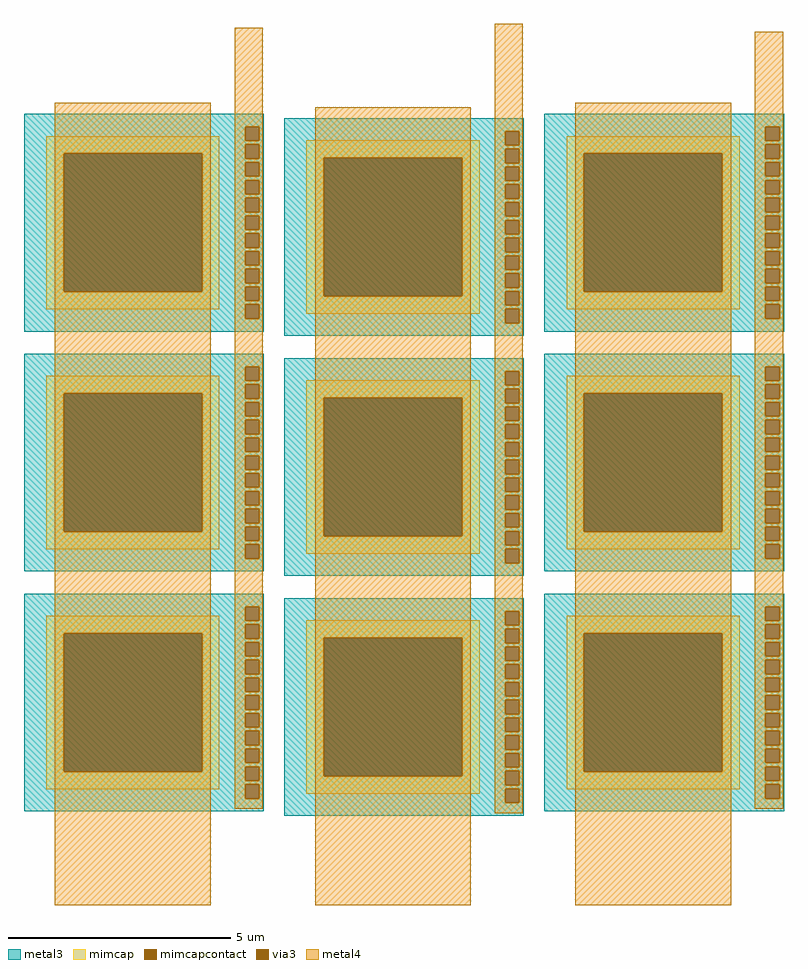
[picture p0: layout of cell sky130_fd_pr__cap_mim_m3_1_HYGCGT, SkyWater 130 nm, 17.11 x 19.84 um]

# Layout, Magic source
magic
tech sky130A
magscale 1 2
<< metal3 >>
rect -1711 1532 -632 1590
rect -1711 1468 -716 1532
rect -652 1468 -632 1532
rect -1711 1452 -632 1468
rect -1711 1388 -716 1452
rect -652 1388 -632 1452
rect -1711 1372 -632 1388
rect -1711 1308 -716 1372
rect -652 1308 -632 1372
rect -1711 1292 -632 1308
rect -1711 1228 -716 1292
rect -652 1228 -632 1292
rect -1711 1212 -632 1228
rect -1711 1148 -716 1212
rect -652 1148 -632 1212
rect -1711 1132 -632 1148
rect -1711 1068 -716 1132
rect -652 1068 -632 1132
rect -1711 1052 -632 1068
rect -1711 988 -716 1052
rect -652 988 -632 1052
rect -1711 972 -632 988
rect -1711 908 -716 972
rect -652 908 -632 972
rect -1711 892 -632 908
rect -1711 828 -716 892
rect -652 828 -632 892
rect -1711 812 -632 828
rect -1711 748 -716 812
rect -652 748 -632 812
rect -1711 732 -632 748
rect -1711 668 -716 732
rect -652 668 -632 732
rect -1711 610 -632 668
rect -540 1512 539 1570
rect -540 1448 455 1512
rect 519 1448 539 1512
rect -540 1432 539 1448
rect -540 1368 455 1432
rect 519 1368 539 1432
rect -540 1352 539 1368
rect -540 1288 455 1352
rect 519 1288 539 1352
rect -540 1272 539 1288
rect -540 1208 455 1272
rect 519 1208 539 1272
rect -540 1192 539 1208
rect -540 1128 455 1192
rect 519 1128 539 1192
rect -540 1112 539 1128
rect -540 1048 455 1112
rect 519 1048 539 1112
rect -540 1032 539 1048
rect -540 968 455 1032
rect 519 968 539 1032
rect -540 952 539 968
rect -540 888 455 952
rect 519 888 539 952
rect -540 872 539 888
rect -540 808 455 872
rect 519 808 539 872
rect -540 792 539 808
rect -540 728 455 792
rect 519 728 539 792
rect -540 712 539 728
rect -540 648 455 712
rect 519 648 539 712
rect -540 590 539 648
rect 631 1532 1710 1590
rect 631 1468 1626 1532
rect 1690 1468 1710 1532
rect 631 1452 1710 1468
rect 631 1388 1626 1452
rect 1690 1388 1710 1452
rect 631 1372 1710 1388
rect 631 1308 1626 1372
rect 1690 1308 1710 1372
rect 631 1292 1710 1308
rect 631 1228 1626 1292
rect 1690 1228 1710 1292
rect 631 1212 1710 1228
rect 631 1148 1626 1212
rect 1690 1148 1710 1212
rect 631 1132 1710 1148
rect 631 1068 1626 1132
rect 1690 1068 1710 1132
rect 631 1052 1710 1068
rect 631 988 1626 1052
rect 1690 988 1710 1052
rect 631 972 1710 988
rect 631 908 1626 972
rect 1690 908 1710 972
rect 631 892 1710 908
rect 631 828 1626 892
rect 1690 828 1710 892
rect 631 812 1710 828
rect 631 748 1626 812
rect 1690 748 1710 812
rect 631 732 1710 748
rect 631 668 1626 732
rect 1690 668 1710 732
rect 631 610 1710 668
rect -1711 452 -632 510
rect -1711 388 -716 452
rect -652 388 -632 452
rect -1711 372 -632 388
rect -1711 308 -716 372
rect -652 308 -632 372
rect -1711 292 -632 308
rect -1711 228 -716 292
rect -652 228 -632 292
rect -1711 212 -632 228
rect -1711 148 -716 212
rect -652 148 -632 212
rect -1711 132 -632 148
rect -1711 68 -716 132
rect -652 68 -632 132
rect -1711 52 -632 68
rect -1711 -12 -716 52
rect -652 -12 -632 52
rect -1711 -28 -632 -12
rect -1711 -92 -716 -28
rect -652 -92 -632 -28
rect -1711 -108 -632 -92
rect -1711 -172 -716 -108
rect -652 -172 -632 -108
rect -1711 -188 -632 -172
rect -1711 -252 -716 -188
rect -652 -252 -632 -188
rect -1711 -268 -632 -252
rect -1711 -332 -716 -268
rect -652 -332 -632 -268
rect -1711 -348 -632 -332
rect -1711 -412 -716 -348
rect -652 -412 -632 -348
rect -1711 -470 -632 -412
rect -540 432 539 490
rect -540 368 455 432
rect 519 368 539 432
rect -540 352 539 368
rect -540 288 455 352
rect 519 288 539 352
rect -540 272 539 288
rect -540 208 455 272
rect 519 208 539 272
rect -540 192 539 208
rect -540 128 455 192
rect 519 128 539 192
rect -540 112 539 128
rect -540 48 455 112
rect 519 48 539 112
rect -540 32 539 48
rect -540 -32 455 32
rect 519 -32 539 32
rect -540 -48 539 -32
rect -540 -112 455 -48
rect 519 -112 539 -48
rect -540 -128 539 -112
rect -540 -192 455 -128
rect 519 -192 539 -128
rect -540 -208 539 -192
rect -540 -272 455 -208
rect 519 -272 539 -208
rect -540 -288 539 -272
rect -540 -352 455 -288
rect 519 -352 539 -288
rect -540 -368 539 -352
rect -540 -432 455 -368
rect 519 -432 539 -368
rect -540 -490 539 -432
rect 631 452 1710 510
rect 631 388 1626 452
rect 1690 388 1710 452
rect 631 372 1710 388
rect 631 308 1626 372
rect 1690 308 1710 372
rect 631 292 1710 308
rect 631 228 1626 292
rect 1690 228 1710 292
rect 631 212 1710 228
rect 631 148 1626 212
rect 1690 148 1710 212
rect 631 132 1710 148
rect 631 68 1626 132
rect 1690 68 1710 132
rect 631 52 1710 68
rect 631 -12 1626 52
rect 1690 -12 1710 52
rect 631 -28 1710 -12
rect 631 -92 1626 -28
rect 1690 -92 1710 -28
rect 631 -108 1710 -92
rect 631 -172 1626 -108
rect 1690 -172 1710 -108
rect 631 -188 1710 -172
rect 631 -252 1626 -188
rect 1690 -252 1710 -188
rect 631 -268 1710 -252
rect 631 -332 1626 -268
rect 1690 -332 1710 -268
rect 631 -348 1710 -332
rect 631 -412 1626 -348
rect 1690 -412 1710 -348
rect 631 -470 1710 -412
rect -1711 -628 -632 -570
rect -1711 -692 -716 -628
rect -652 -692 -632 -628
rect -1711 -708 -632 -692
rect -1711 -772 -716 -708
rect -652 -772 -632 -708
rect -1711 -788 -632 -772
rect -1711 -852 -716 -788
rect -652 -852 -632 -788
rect -1711 -868 -632 -852
rect -1711 -932 -716 -868
rect -652 -932 -632 -868
rect -1711 -948 -632 -932
rect -1711 -1012 -716 -948
rect -652 -1012 -632 -948
rect -1711 -1028 -632 -1012
rect -1711 -1092 -716 -1028
rect -652 -1092 -632 -1028
rect -1711 -1108 -632 -1092
rect -1711 -1172 -716 -1108
rect -652 -1172 -632 -1108
rect -1711 -1188 -632 -1172
rect -1711 -1252 -716 -1188
rect -652 -1252 -632 -1188
rect -1711 -1268 -632 -1252
rect -1711 -1332 -716 -1268
rect -652 -1332 -632 -1268
rect -1711 -1348 -632 -1332
rect -1711 -1412 -716 -1348
rect -652 -1412 -632 -1348
rect -1711 -1428 -632 -1412
rect -1711 -1492 -716 -1428
rect -652 -1492 -632 -1428
rect -1711 -1550 -632 -1492
rect -540 -648 539 -590
rect -540 -712 455 -648
rect 519 -712 539 -648
rect -540 -728 539 -712
rect -540 -792 455 -728
rect 519 -792 539 -728
rect -540 -808 539 -792
rect -540 -872 455 -808
rect 519 -872 539 -808
rect -540 -888 539 -872
rect -540 -952 455 -888
rect 519 -952 539 -888
rect -540 -968 539 -952
rect -540 -1032 455 -968
rect 519 -1032 539 -968
rect -540 -1048 539 -1032
rect -540 -1112 455 -1048
rect 519 -1112 539 -1048
rect -540 -1128 539 -1112
rect -540 -1192 455 -1128
rect 519 -1192 539 -1128
rect -540 -1208 539 -1192
rect -540 -1272 455 -1208
rect 519 -1272 539 -1208
rect -540 -1288 539 -1272
rect -540 -1352 455 -1288
rect 519 -1352 539 -1288
rect -540 -1368 539 -1352
rect -540 -1432 455 -1368
rect 519 -1432 539 -1368
rect -540 -1448 539 -1432
rect -540 -1512 455 -1448
rect 519 -1512 539 -1448
rect -540 -1570 539 -1512
rect 631 -628 1710 -570
rect 631 -692 1626 -628
rect 1690 -692 1710 -628
rect 631 -708 1710 -692
rect 631 -772 1626 -708
rect 1690 -772 1710 -708
rect 631 -788 1710 -772
rect 631 -852 1626 -788
rect 1690 -852 1710 -788
rect 631 -868 1710 -852
rect 631 -932 1626 -868
rect 1690 -932 1710 -868
rect 631 -948 1710 -932
rect 631 -1012 1626 -948
rect 1690 -1012 1710 -948
rect 631 -1028 1710 -1012
rect 631 -1092 1626 -1028
rect 1690 -1092 1710 -1028
rect 631 -1108 1710 -1092
rect 631 -1172 1626 -1108
rect 1690 -1172 1710 -1108
rect 631 -1188 1710 -1172
rect 631 -1252 1626 -1188
rect 1690 -1252 1710 -1188
rect 631 -1268 1710 -1252
rect 631 -1332 1626 -1268
rect 1690 -1332 1710 -1268
rect 631 -1348 1710 -1332
rect 631 -1412 1626 -1348
rect 1690 -1412 1710 -1348
rect 631 -1428 1710 -1412
rect 631 -1492 1626 -1428
rect 1690 -1492 1710 -1428
rect 631 -1550 1710 -1492
<< via3 >>
rect -716 1468 -652 1532
rect -716 1388 -652 1452
rect -716 1308 -652 1372
rect -716 1228 -652 1292
rect -716 1148 -652 1212
rect -716 1068 -652 1132
rect -716 988 -652 1052
rect -716 908 -652 972
rect -716 828 -652 892
rect -716 748 -652 812
rect -716 668 -652 732
rect 455 1448 519 1512
rect 455 1368 519 1432
rect 455 1288 519 1352
rect 455 1208 519 1272
rect 455 1128 519 1192
rect 455 1048 519 1112
rect 455 968 519 1032
rect 455 888 519 952
rect 455 808 519 872
rect 455 728 519 792
rect 455 648 519 712
rect 1626 1468 1690 1532
rect 1626 1388 1690 1452
rect 1626 1308 1690 1372
rect 1626 1228 1690 1292
rect 1626 1148 1690 1212
rect 1626 1068 1690 1132
rect 1626 988 1690 1052
rect 1626 908 1690 972
rect 1626 828 1690 892
rect 1626 748 1690 812
rect 1626 668 1690 732
rect -716 388 -652 452
rect -716 308 -652 372
rect -716 228 -652 292
rect -716 148 -652 212
rect -716 68 -652 132
rect -716 -12 -652 52
rect -716 -92 -652 -28
rect -716 -172 -652 -108
rect -716 -252 -652 -188
rect -716 -332 -652 -268
rect -716 -412 -652 -348
rect 455 368 519 432
rect 455 288 519 352
rect 455 208 519 272
rect 455 128 519 192
rect 455 48 519 112
rect 455 -32 519 32
rect 455 -112 519 -48
rect 455 -192 519 -128
rect 455 -272 519 -208
rect 455 -352 519 -288
rect 455 -432 519 -368
rect 1626 388 1690 452
rect 1626 308 1690 372
rect 1626 228 1690 292
rect 1626 148 1690 212
rect 1626 68 1690 132
rect 1626 -12 1690 52
rect 1626 -92 1690 -28
rect 1626 -172 1690 -108
rect 1626 -252 1690 -188
rect 1626 -332 1690 -268
rect 1626 -412 1690 -348
rect -716 -692 -652 -628
rect -716 -772 -652 -708
rect -716 -852 -652 -788
rect -716 -932 -652 -868
rect -716 -1012 -652 -948
rect -716 -1092 -652 -1028
rect -716 -1172 -652 -1108
rect -716 -1252 -652 -1188
rect -716 -1332 -652 -1268
rect -716 -1412 -652 -1348
rect -716 -1492 -652 -1428
rect 455 -712 519 -648
rect 455 -792 519 -728
rect 455 -872 519 -808
rect 455 -952 519 -888
rect 455 -1032 519 -968
rect 455 -1112 519 -1048
rect 455 -1192 519 -1128
rect 455 -1272 519 -1208
rect 455 -1352 519 -1288
rect 455 -1432 519 -1368
rect 455 -1512 519 -1448
rect 1626 -692 1690 -628
rect 1626 -772 1690 -708
rect 1626 -852 1690 -788
rect 1626 -932 1690 -868
rect 1626 -1012 1690 -948
rect 1626 -1092 1690 -1028
rect 1626 -1172 1690 -1108
rect 1626 -1252 1690 -1188
rect 1626 -1332 1690 -1268
rect 1626 -1412 1690 -1348
rect 1626 -1492 1690 -1428
<< mimcap >>
rect -1611 1412 -831 1490
rect -1611 788 -1533 1412
rect -909 788 -831 1412
rect -1611 710 -831 788
rect -440 1392 340 1470
rect -440 768 -362 1392
rect 262 768 340 1392
rect -440 690 340 768
rect 731 1412 1511 1490
rect 731 788 809 1412
rect 1433 788 1511 1412
rect 731 710 1511 788
rect -1611 332 -831 410
rect -1611 -292 -1533 332
rect -909 -292 -831 332
rect -1611 -370 -831 -292
rect -440 312 340 390
rect -440 -312 -362 312
rect 262 -312 340 312
rect -440 -390 340 -312
rect 731 332 1511 410
rect 731 -292 809 332
rect 1433 -292 1511 332
rect 731 -370 1511 -292
rect -1611 -748 -831 -670
rect -1611 -1372 -1533 -748
rect -909 -1372 -831 -748
rect -1611 -1450 -831 -1372
rect -440 -768 340 -690
rect -440 -1392 -362 -768
rect 262 -1392 340 -768
rect -440 -1470 340 -1392
rect 731 -748 1511 -670
rect 731 -1372 809 -748
rect 1433 -1372 1511 -748
rect 731 -1450 1511 -1372
<< mimcapcontact >>
rect -1533 788 -909 1412
rect -362 768 262 1392
rect 809 788 1433 1412
rect -1533 -292 -909 332
rect -362 -312 262 312
rect 809 -292 1433 332
rect -1533 -1372 -909 -748
rect -362 -1392 262 -768
rect 809 -1372 1433 -748
<< metal4 >>
rect -1572 1412 -870 1640
rect -1572 788 -1533 1412
rect -909 788 -870 1412
rect -1572 332 -870 788
rect -1572 -292 -1533 332
rect -909 -292 -870 332
rect -1572 -748 -870 -292
rect -1572 -1372 -1533 -748
rect -909 -1372 -870 -748
rect -1572 -1972 -870 -1372
rect -763 1532 -636 1978
rect -763 1468 -716 1532
rect -652 1468 -636 1532
rect -763 1452 -636 1468
rect -763 1388 -716 1452
rect -652 1388 -636 1452
rect -763 1372 -636 1388
rect -763 1308 -716 1372
rect -652 1308 -636 1372
rect -763 1292 -636 1308
rect -763 1228 -716 1292
rect -652 1228 -636 1292
rect -763 1212 -636 1228
rect -763 1148 -716 1212
rect -652 1148 -636 1212
rect -763 1132 -636 1148
rect -763 1068 -716 1132
rect -652 1068 -636 1132
rect -763 1052 -636 1068
rect -763 988 -716 1052
rect -652 988 -636 1052
rect -763 972 -636 988
rect -763 908 -716 972
rect -652 908 -636 972
rect -763 892 -636 908
rect -763 828 -716 892
rect -652 828 -636 892
rect -763 812 -636 828
rect -763 748 -716 812
rect -652 748 -636 812
rect -763 732 -636 748
rect -763 668 -716 732
rect -652 668 -636 732
rect -763 452 -636 668
rect -763 388 -716 452
rect -652 388 -636 452
rect -763 372 -636 388
rect -763 308 -716 372
rect -652 308 -636 372
rect -763 292 -636 308
rect -763 228 -716 292
rect -652 228 -636 292
rect -763 212 -636 228
rect -763 148 -716 212
rect -652 148 -636 212
rect -763 132 -636 148
rect -763 68 -716 132
rect -652 68 -636 132
rect -763 52 -636 68
rect -763 -12 -716 52
rect -652 -12 -636 52
rect -763 -28 -636 -12
rect -763 -92 -716 -28
rect -652 -92 -636 -28
rect -763 -108 -636 -92
rect -763 -172 -716 -108
rect -652 -172 -636 -108
rect -763 -188 -636 -172
rect -763 -252 -716 -188
rect -652 -252 -636 -188
rect -763 -268 -636 -252
rect -763 -332 -716 -268
rect -652 -332 -636 -268
rect -763 -348 -636 -332
rect -763 -412 -716 -348
rect -652 -412 -636 -348
rect -763 -628 -636 -412
rect -763 -692 -716 -628
rect -652 -692 -636 -628
rect -763 -708 -636 -692
rect -763 -772 -716 -708
rect -652 -772 -636 -708
rect -763 -788 -636 -772
rect -763 -852 -716 -788
rect -652 -852 -636 -788
rect -763 -868 -636 -852
rect -763 -932 -716 -868
rect -652 -932 -636 -868
rect -763 -948 -636 -932
rect -763 -1012 -716 -948
rect -652 -1012 -636 -948
rect -763 -1028 -636 -1012
rect -763 -1092 -716 -1028
rect -652 -1092 -636 -1028
rect -763 -1108 -636 -1092
rect -763 -1172 -716 -1108
rect -652 -1172 -636 -1108
rect -763 -1188 -636 -1172
rect -763 -1252 -716 -1188
rect -652 -1252 -636 -1188
rect -763 -1268 -636 -1252
rect -763 -1332 -716 -1268
rect -652 -1332 -636 -1268
rect -763 -1348 -636 -1332
rect -763 -1412 -716 -1348
rect -652 -1412 -636 -1348
rect -763 -1428 -636 -1412
rect -763 -1492 -716 -1428
rect -652 -1492 -636 -1428
rect -763 -1538 -636 -1492
rect -401 1392 301 1620
rect -401 768 -362 1392
rect 262 768 301 1392
rect -401 312 301 768
rect -401 -312 -362 312
rect 262 -312 301 312
rect -401 -768 301 -312
rect -401 -1392 -362 -768
rect 262 -1392 301 -768
rect -401 -1972 301 -1392
rect 408 1512 535 1995
rect 408 1448 455 1512
rect 519 1448 535 1512
rect 408 1432 535 1448
rect 408 1368 455 1432
rect 519 1368 535 1432
rect 408 1352 535 1368
rect 408 1288 455 1352
rect 519 1288 535 1352
rect 408 1272 535 1288
rect 408 1208 455 1272
rect 519 1208 535 1272
rect 408 1192 535 1208
rect 408 1128 455 1192
rect 519 1128 535 1192
rect 408 1112 535 1128
rect 408 1048 455 1112
rect 519 1048 535 1112
rect 408 1032 535 1048
rect 408 968 455 1032
rect 519 968 535 1032
rect 408 952 535 968
rect 408 888 455 952
rect 519 888 535 952
rect 408 872 535 888
rect 408 808 455 872
rect 519 808 535 872
rect 408 792 535 808
rect 408 728 455 792
rect 519 728 535 792
rect 408 712 535 728
rect 408 648 455 712
rect 519 648 535 712
rect 408 432 535 648
rect 408 368 455 432
rect 519 368 535 432
rect 408 352 535 368
rect 408 288 455 352
rect 519 288 535 352
rect 408 272 535 288
rect 408 208 455 272
rect 519 208 535 272
rect 408 192 535 208
rect 408 128 455 192
rect 519 128 535 192
rect 408 112 535 128
rect 408 48 455 112
rect 519 48 535 112
rect 408 32 535 48
rect 408 -32 455 32
rect 519 -32 535 32
rect 408 -48 535 -32
rect 408 -112 455 -48
rect 519 -112 535 -48
rect 408 -128 535 -112
rect 408 -192 455 -128
rect 519 -192 535 -128
rect 408 -208 535 -192
rect 408 -272 455 -208
rect 519 -272 535 -208
rect 408 -288 535 -272
rect 408 -352 455 -288
rect 519 -352 535 -288
rect 408 -368 535 -352
rect 408 -432 455 -368
rect 519 -432 535 -368
rect 408 -648 535 -432
rect 408 -712 455 -648
rect 519 -712 535 -648
rect 408 -728 535 -712
rect 408 -792 455 -728
rect 519 -792 535 -728
rect 408 -808 535 -792
rect 408 -872 455 -808
rect 519 -872 535 -808
rect 408 -888 535 -872
rect 408 -952 455 -888
rect 519 -952 535 -888
rect 408 -968 535 -952
rect 408 -1032 455 -968
rect 519 -1032 535 -968
rect 408 -1048 535 -1032
rect 408 -1112 455 -1048
rect 519 -1112 535 -1048
rect 408 -1128 535 -1112
rect 408 -1192 455 -1128
rect 519 -1192 535 -1128
rect 408 -1208 535 -1192
rect 408 -1272 455 -1208
rect 519 -1272 535 -1208
rect 408 -1288 535 -1272
rect 408 -1352 455 -1288
rect 519 -1352 535 -1288
rect 408 -1368 535 -1352
rect 408 -1432 455 -1368
rect 519 -1432 535 -1368
rect 408 -1448 535 -1432
rect 408 -1512 455 -1448
rect 519 -1512 535 -1448
rect 408 -1558 535 -1512
rect 770 1412 1472 1640
rect 770 788 809 1412
rect 1433 788 1472 1412
rect 770 332 1472 788
rect 770 -292 809 332
rect 1433 -292 1472 332
rect 770 -748 1472 -292
rect 770 -1372 809 -748
rect 1433 -1372 1472 -748
rect 770 -1972 1472 -1372
rect 1579 1532 1706 1960
rect 1579 1468 1626 1532
rect 1690 1468 1706 1532
rect 1579 1452 1706 1468
rect 1579 1388 1626 1452
rect 1690 1388 1706 1452
rect 1579 1372 1706 1388
rect 1579 1308 1626 1372
rect 1690 1308 1706 1372
rect 1579 1292 1706 1308
rect 1579 1228 1626 1292
rect 1690 1228 1706 1292
rect 1579 1212 1706 1228
rect 1579 1148 1626 1212
rect 1690 1148 1706 1212
rect 1579 1132 1706 1148
rect 1579 1068 1626 1132
rect 1690 1068 1706 1132
rect 1579 1052 1706 1068
rect 1579 988 1626 1052
rect 1690 988 1706 1052
rect 1579 972 1706 988
rect 1579 908 1626 972
rect 1690 908 1706 972
rect 1579 892 1706 908
rect 1579 828 1626 892
rect 1690 828 1706 892
rect 1579 812 1706 828
rect 1579 748 1626 812
rect 1690 748 1706 812
rect 1579 732 1706 748
rect 1579 668 1626 732
rect 1690 668 1706 732
rect 1579 452 1706 668
rect 1579 388 1626 452
rect 1690 388 1706 452
rect 1579 372 1706 388
rect 1579 308 1626 372
rect 1690 308 1706 372
rect 1579 292 1706 308
rect 1579 228 1626 292
rect 1690 228 1706 292
rect 1579 212 1706 228
rect 1579 148 1626 212
rect 1690 148 1706 212
rect 1579 132 1706 148
rect 1579 68 1626 132
rect 1690 68 1706 132
rect 1579 52 1706 68
rect 1579 -12 1626 52
rect 1690 -12 1706 52
rect 1579 -28 1706 -12
rect 1579 -92 1626 -28
rect 1690 -92 1706 -28
rect 1579 -108 1706 -92
rect 1579 -172 1626 -108
rect 1690 -172 1706 -108
rect 1579 -188 1706 -172
rect 1579 -252 1626 -188
rect 1690 -252 1706 -188
rect 1579 -268 1706 -252
rect 1579 -332 1626 -268
rect 1690 -332 1706 -268
rect 1579 -348 1706 -332
rect 1579 -412 1626 -348
rect 1690 -412 1706 -348
rect 1579 -628 1706 -412
rect 1579 -692 1626 -628
rect 1690 -692 1706 -628
rect 1579 -708 1706 -692
rect 1579 -772 1626 -708
rect 1690 -772 1706 -708
rect 1579 -788 1706 -772
rect 1579 -852 1626 -788
rect 1690 -852 1706 -788
rect 1579 -868 1706 -852
rect 1579 -932 1626 -868
rect 1690 -932 1706 -868
rect 1579 -948 1706 -932
rect 1579 -1012 1626 -948
rect 1690 -1012 1706 -948
rect 1579 -1028 1706 -1012
rect 1579 -1092 1626 -1028
rect 1690 -1092 1706 -1028
rect 1579 -1108 1706 -1092
rect 1579 -1172 1626 -1108
rect 1690 -1172 1706 -1108
rect 1579 -1188 1706 -1172
rect 1579 -1252 1626 -1188
rect 1690 -1252 1706 -1188
rect 1579 -1268 1706 -1252
rect 1579 -1332 1626 -1268
rect 1690 -1332 1706 -1268
rect 1579 -1348 1706 -1332
rect 1579 -1412 1626 -1348
rect 1690 -1412 1706 -1348
rect 1579 -1428 1706 -1412
rect 1579 -1492 1626 -1428
rect 1690 -1492 1706 -1428
rect 1579 -1538 1706 -1492
<< properties >>
string FIXED_BBOX 559 590 1539 1570
<< end >>
